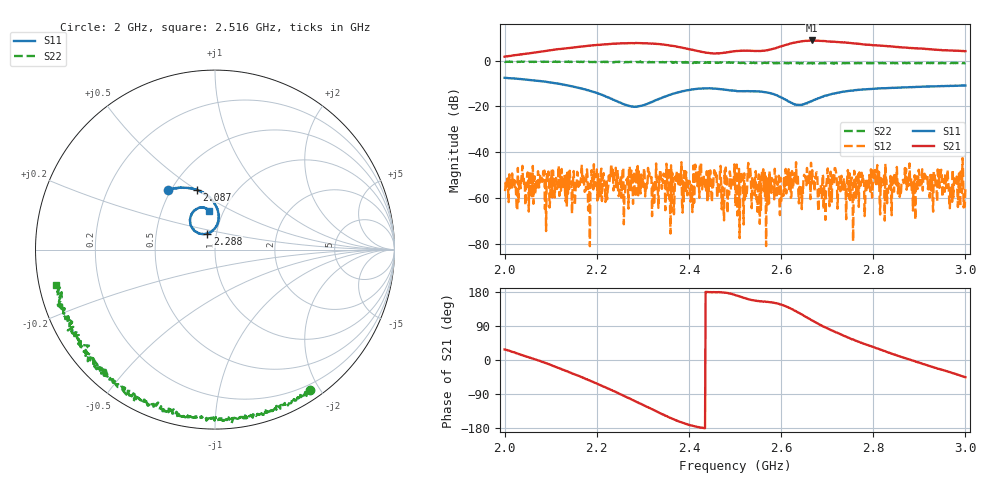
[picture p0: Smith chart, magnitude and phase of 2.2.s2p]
!Agilent Technologies,E8364A,US41440144,A.06.04.32
!Agilent E8364A: A.06.04.32
!Date: Wednesday, January 31, 2018 11:42:56
!Correction: S11(Full 2 Port(1,2)) S21(Full 2 Port(1,2)) S12(Full 2 Port(1,2)) S22(Full 2 Port(1,2))
!S2P File: Measurements: S11, S21, S12, S22:
# Hz S  dB  R 50
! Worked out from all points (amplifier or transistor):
!   801 points, 2 GHz to 3 GHz, reference 50 ohm
!   highest |S21| = 8.9 dB at 2.667 GHz (marker M1)
!   |S21| within 3 dB of that: 2.594 GHz to 2.86 GHz (265.9 MHz wide, 9.75 % of centre)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
!   unconditionally stable (mu >= 1): start of sweep to end of sweep
!   at 2.166 GHz: K = 7.51, MAG = 16.3 dB, |S12| = -49.9 dB
!   at 2.5 GHz: K = 28.11, MAG = 11.1 dB, |S12| = -53.0 dB
!   at 3 GHz: K = 33.76, MAG = 11.5 dB, |S12| = -55.3 dB
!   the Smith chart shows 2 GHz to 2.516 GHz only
!   S11 on the Smith chart (normalised r, x): 2 GHz: 0.48, +0.39; 2.087 GHz: 0.66, +0.50; 2.288 GHz: 0.90, +0.16; 2.516 GHz: 0.86, +0.38
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2e9  -7.47 128.5  1.77 27.9  -56.23 -85.2  -0.48 -55.9
2.0875e9  -9.15 106.8  4.20 -7.1  -64.87 115.8  -0.36 -73.6
2.1675e9  -12.14 89.2  6.26 -45.2  -45.44 -18.4  -0.56 -91.5
2.18625e9  -13.22 85.9  6.61 -54.8  -57.01 47.5  -0.59 -94.9
2.19375e9  -13.70 84.7  6.80 -58.7  -45.25 -145.3  -0.53 -96.2
2.22125e9  -15.78 83.1  7.20 -73.8  -51.84 147.5  -0.58 -102.0
2.235e9  -17.01 84.4  7.46 -81.3  -47.68 -131.6  -0.73 -104.5
2.2875e9  -20.17 115.8  7.68 -111.3  -52.87 165.1  -0.55 -116.0
2.33375e9  -16.88 136.6  7.30 -138.2  -64.35 -174.1  -0.70 -127.1
2.40375e9  -12.67 125.2  4.93 -172.5  -61.63 171.6  -0.80 -142.7
2.41875e9  -12.28 120.1  4.31 -176.8  -54.86 -76.4  -0.71 -145.7
2.5e9  -13.18 99.6  4.18 171.3  -52.99 -55.3  -1.04 -164.5
2.51625e9  -13.35 98.4  4.38 165.2  -51.38 51.7  -0.87 -167.5
2.585e9  -14.70 81.9  5.32 151.0  -60.59 -179.5  -0.99 177.9
2.62e9  -18.15 83.1  7.49 136.4  -49.05 -140.8  -0.99 170.3
2.6675e9  -17.59 118.0  8.86 104.2  -47.83 7.7  -1.15 159.8
2.68375e9  -16.26 120.4  8.69 93.3  -54.53 15.6  -1.10 156.6
2.71625e9  -14.29 118.4  8.27 75.0  -46.96 48.7  -0.96 150.1
2.75e9  -13.15 113.3  7.77 57.0  -61.46 -115.3  -1.00 143.6
2.83375e9  -11.96 101.6  6.32 19.2  -56.97 80.8  -0.95 127.2
2.945e9  -11.13 89.5  4.67 -24.5  -46.53 -131.2  -1.00 106.8
3e9  -10.84 84.3  4.19 -45.4  -55.33 -95.3  -1.00 98.2
